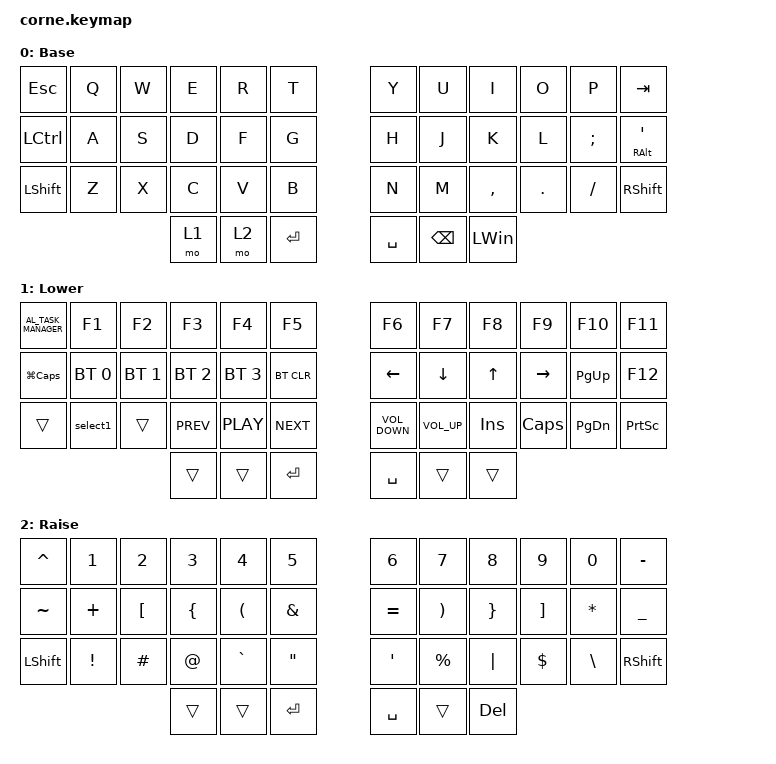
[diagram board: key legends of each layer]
/*
 * Copyright (c) 2020 The ZMK Contributors
 *
 * SPDX-License-Identifier: MIT
 */

#include <behaviors.dtsi>
#include <dt-bindings/zmk/bt.h>
#include <dt-bindings/zmk/keys.h>

/ {
    macros {
        select1: select1 {
            compatible = "zmk,behavior-macro";
            #binding-cells = <0>;
            bindings = <&none &kp S &kp E &kp L &kp E &kp C &kp T &kp SPACE &kp STAR &kp SPACE &kp F &kp R &kp O &kp M &kp SPACE &kp T &kp B &kp L &kp C &kp O &kp N &kp T &kp R &kp A &kp C &kp T &kp S &kp SPACE &kp W &kp H &kp E &kp R &kp E &kp SPACE &kp S &kp G &kp C &kp O &kp N &kp T &kp R &kp A &kp C &kp T &kp N &kp O &kp SPACE &kp L &kp I &kp K &kp E &kp SPACE &kp SQT &kp PRCNT &kp PRCNT &kp SQT &kp RET &kp S &kp E &kp L &kp E &kp C &kp T &kp SPACE &kp STAR &kp SPACE &kp F &kp R &kp O &kp M &kp SPACE &kp T &kp B &kp L &kp W &kp O &kp R &kp K &kp I &kp T &kp E &kp M &kp S &kp SPACE &kp W &kp H &kp E &kp R &kp E &kp SPACE &kp S &kp G &kp I &kp T &kp E &kp M &kp N &kp A &kp M &kp E &kp SPACE &kp L &kp I &kp K &kp E &kp SPACE &kp SQT &kp PRCNT &kp PRCNT &kp SQT &kp SPACE &kp A &kp N &kp D &kp SPACE &kp F &kp K &kp I &kp D &kp C &kp O &kp N &kp T &kp R &kp A &kp C &kp T &kp SPACE &kp EQUAL>;
            label = "SELECT1";
        };

        alttab: alttab {
            compatible = "zmk,behavior-macro";
            #binding-cells = <0>;
            bindings = <&macro_press>;
            label = "ALTTAB";
        };
    };

    keymap {
        compatible = "zmk,keymap";

        default_layer {
            display-name = "Base";
            bindings = <
&kp ESCAPE  &kp Q  &kp W  &kp E  &kp R  &kp T      &kp Y      &kp U          &kp I         &kp O    &kp P     &kp TAB
&kp LCTRL   &kp A  &kp S  &kp D  &kp F  &kp G      &kp H      &kp J          &kp K         &kp L    &kp SEMI  &mt RIGHT_ALT SQT
&kp LSHFT   &kp Z  &kp X  &kp C  &kp V  &kp B      &kp N      &kp M          &kp COMMA     &kp DOT  &kp FSLH  &kp RSHFT
                          &mo 1  &mo 2  &kp RET    &kp SPACE  &kp BACKSPACE  &kp LEFT_WIN
            >;
        };

        lower_layer {
            display-name = "Lower";
            bindings = <
&kp C_AL_TASK_MANAGER  &kp F1        &kp F2        &kp F3        &kp F4        &kp F5        &kp F6             &kp F7           &kp F8      &kp F9        &kp F10        &kp F11
&kp LG(CAPSLOCK)       &bt BT_SEL 0  &bt BT_SEL 1  &bt BT_SEL 2  &bt BT_SEL 3  &bt BT_CLR    &kp LEFT           &kp DOWN         &kp UP      &kp RIGHT     &kp PAGE_UP    &kp F12
&trans                 &select1      &trans        &kp C_PREV    &kp C_PLAY    &kp C_NEXT    &kp C_VOLUME_DOWN  &kp C_VOLUME_UP  &kp INSERT  &kp CAPSLOCK  &kp PAGE_DOWN  &kp PRINTSCREEN
                                                   &trans        &trans        &kp RET       &kp SPACE          &trans           &trans
            >;
        };

        raise_layer {
            display-name = "Raise";
            bindings = <
&kp CARET  &kp NUMBER_1     &kp NUMBER_2      &kp NUMBER_3    &kp NUMBER_4          &kp N5               &kp NUMBER_6  &kp N7                 &kp N8           &kp N9             &kp N0         &kp MINUS
&kp TILDE  &kp PLUS         &kp LEFT_BRACKET  &kp LEFT_BRACE  &kp LEFT_PARENTHESIS  &kp AMPERSAND        &kp EQUAL     &kp RIGHT_PARENTHESIS  &kp RIGHT_BRACE  &kp RIGHT_BRACKET  &kp ASTERISK   &kp UNDERSCORE
&kp LSHFT  &kp EXCLAMATION  &kp HASH          &kp AT_SIGN     &kp GRAVE             &kp DOUBLE_QUOTES    &kp SQT       &kp PERCENT            &kp PIPE         &kp DOLLAR         &kp BACKSLASH  &kp RIGHT_SHIFT
                                              &trans          &trans                &kp ENTER            &kp SPACE     &trans                 &kp DELETE
            >;
        };
    };
};
